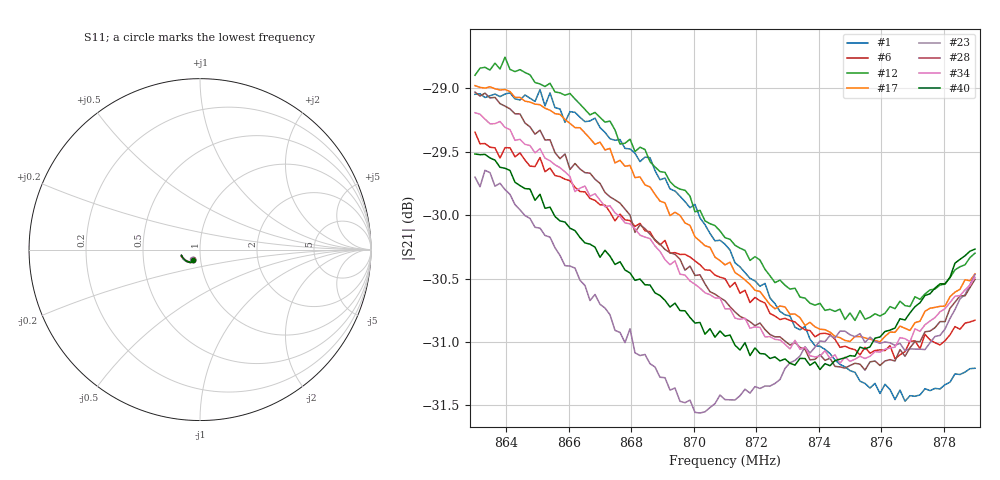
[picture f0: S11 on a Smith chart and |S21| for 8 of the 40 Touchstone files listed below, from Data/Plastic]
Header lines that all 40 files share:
# HZ S RI R 50
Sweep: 863 MHz to 879 MHz
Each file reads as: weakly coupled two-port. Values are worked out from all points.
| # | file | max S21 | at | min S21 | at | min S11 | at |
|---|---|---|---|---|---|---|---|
| 1 | po0s0.s2p | -29.01 dB | 865.08 MHz | -31.5 dB | 876.76 MHz | -23.4 dB | 863.96 MHz |
| 2 | po0s1.s2p | -29.30 dB | 863.8 MHz | -31.3 dB | 876.28 MHz | -23.3 dB | 864.76 MHz |
| 3 | po0s2.s2p | -29.62 dB | 864.6 MHz | -31.5 dB | 876.12 MHz | -23.6 dB | 864.6 MHz |
| 4 | po0s3.s2p | -29.07 dB | 863 MHz | -31.4 dB | 876.92 MHz | -23.4 dB | 864.44 MHz |
| 5 | po0s5.s2p | -28.87 dB | 863.96 MHz | -31.5 dB | 877.88 MHz | -23.4 dB | 864.12 MHz |
| 6 | po0s6.s2p | -29.34 dB | 863 MHz | -31.1 dB | 876.44 MHz | -23.5 dB | 865.08 MHz |
| 7 | po0s9.s2p | -29.31 dB | 863.16 MHz | -31.5 dB | 878.04 MHz | -23.5 dB | 863.96 MHz |
| 8 | po1s2.s2p | -28.79 dB | 863.16 MHz | -30.9 dB | 876.76 MHz | -23.0 dB | 865.24 MHz |
| 9 | po1s3.s2p | -28.55 dB | 863 MHz | -30.5 dB | 877.72 MHz | -22.9 dB | 865.24 MHz |
| 10 | po1s4.s2p | -28.68 dB | 864.28 MHz | -30.9 dB | 877.88 MHz | -23.1 dB | 864.44 MHz |
| 11 | po1s6.s2p | -28.71 dB | 863.64 MHz | -31.0 dB | 877.24 MHz | -23.3 dB | 866.04 MHz |
| 12 | po2s0.s2p | -28.75 dB | 863.96 MHz | -30.8 dB | 875.16 MHz | -23.3 dB | 863.16 MHz |
| 13 | po2s1.s2p | -29.15 dB | 863.32 MHz | -31.0 dB | 875.64 MHz | -23.3 dB | 864.6 MHz |
| 14 | po2s3.s2p | -29.02 dB | 863.48 MHz | -30.7 dB | 874.68 MHz | -23.3 dB | 863.96 MHz |
| 15 | po2s4.s2p | -29.05 dB | 863.96 MHz | -31.0 dB | 875.48 MHz | -23.2 dB | 864.12 MHz |
| 16 | po2s5.s2p | -29.02 dB | 863 MHz | -31.1 dB | 874.68 MHz | -23.1 dB | 863.96 MHz |
| 17 | po2s6.s2p | -28.98 dB | 863 MHz | -31.0 dB | 875.96 MHz | -23.3 dB | 865.24 MHz |
| 18 | po2s7.s2p | -28.70 dB | 863.64 MHz | -31.1 dB | 875.16 MHz | -23.1 dB | 863.96 MHz |
| 19 | po3s0.s2p | -29.56 dB | 863 MHz | -31.2 dB | 874.68 MHz | -23.0 dB | 864.44 MHz |
| 20 | po3s1.s2p | -27.72 dB | 863.64 MHz | -31.6 dB | 875.96 MHz | -23.3 dB | 864.44 MHz |
| 21 | po3s2.s2p | -29.18 dB | 863.64 MHz | -31.6 dB | 874.52 MHz | -23.2 dB | 863.64 MHz |
| 22 | po3s3.s2p | -29.44 dB | 863.16 MHz | -31.4 dB | 874.68 MHz | -23.0 dB | 864.44 MHz |
| 23 | po3s6.s2p | -29.65 dB | 863.32 MHz | -31.6 dB | 870.2 MHz | -23.1 dB | 864.44 MHz |
| 24 | po3s7.s2p | -29.68 dB | 863 MHz | -31.1 dB | 872.6 MHz | -23.0 dB | 864.44 MHz |
| 25 | po3s8.s2p | -29.39 dB | 863 MHz | -31.2 dB | 875.16 MHz | -23.0 dB | 864.44 MHz |
| 26 | po3s9.s2p | -29.23 dB | 863 MHz | -31.0 dB | 874.84 MHz | -23.0 dB | 863.96 MHz |
| 27 | po3s11.s2p | -29.29 dB | 863 MHz | -31.4 dB | 875.64 MHz | -22.9 dB | 863.96 MHz |
| 28 | po3s12.s2p | -29.03 dB | 863 MHz | -31.2 dB | 875.48 MHz | -22.8 dB | 864.12 MHz |
| 29 | po3s13.s2p | -28.95 dB | 863 MHz | -31.2 dB | 875 MHz | -23.0 dB | 863.96 MHz |
| 30 | po3s14.s2p | -29.27 dB | 863 MHz | -31.7 dB | 874.04 MHz | -23.0 dB | 863.96 MHz |
| 31 | po3s15.s2p | -29.27 dB | 863.64 MHz | -31.3 dB | 875 MHz | -23.4 dB | 864.44 MHz |
| 32 | po4s0.s2p | -29.15 dB | 863 MHz | -31.6 dB | 875 MHz | -23.2 dB | 864.92 MHz |
| 33 | po4s1.s2p | -28.87 dB | 863 MHz | -30.7 dB | 875 MHz | -23.3 dB | 864.76 MHz |
| 34 | po4s2.s2p | -29.19 dB | 863 MHz | -31.2 dB | 874.68 MHz | -23.2 dB | 864.44 MHz |
| 35 | po4s3.s2p | -29.17 dB | 863 MHz | -31.3 dB | 874.52 MHz | -23.3 dB | 863.8 MHz |
| 36 | po4s4.s2p | -29.28 dB | 863.16 MHz | -31.2 dB | 875 MHz | -23.4 dB | 863.16 MHz |
| 37 | po4s5.s2p | -29.44 dB | 863 MHz | -31.5 dB | 875.32 MHz | -23.3 dB | 864.44 MHz |
| 38 | po4s6.s2p | -29.12 dB | 863 MHz | -31.6 dB | 875.16 MHz | -23.2 dB | 865.24 MHz |
| 39 | po4s7.s2p | -29.26 dB | 863.96 MHz | -31.6 dB | 875 MHz | -23.3 dB | 863.96 MHz |
| 40 | po4s8.s2p | -29.52 dB | 863 MHz | -31.2 dB | 874.04 MHz | -23.0 dB | 864.44 MHz |
